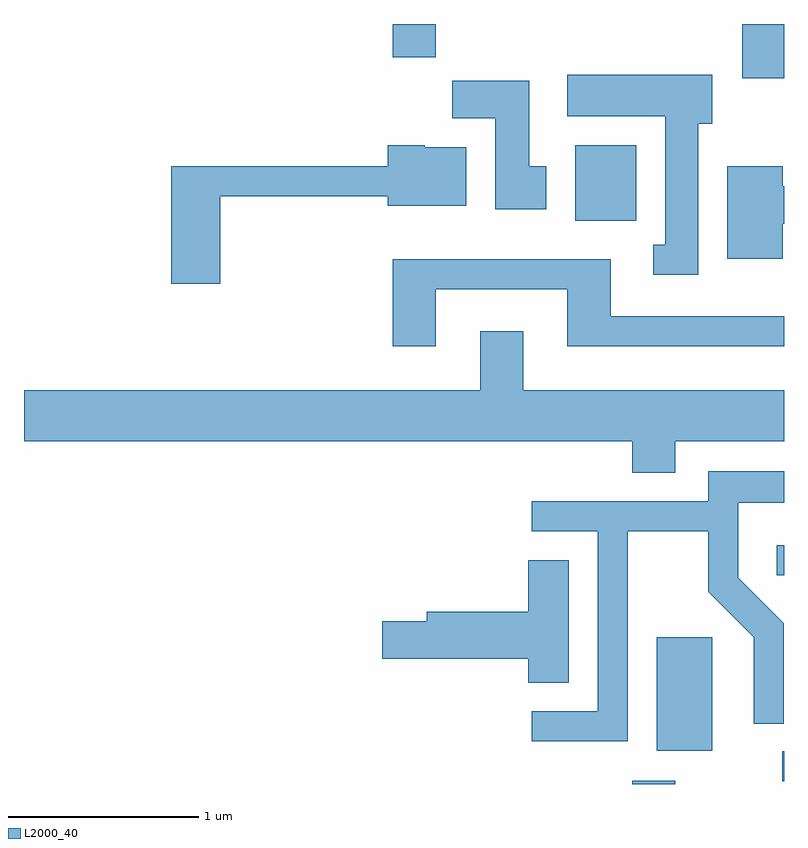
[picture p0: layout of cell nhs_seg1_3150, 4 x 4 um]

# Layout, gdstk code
import gdstk
lib = gdstk.Library(unit=1e-6, precision=1e-09)
def R(c, l, rs):  # rectangles x0, y0, x1, y1
    for r in rs: c.add(gdstk.rectangle(r[:2], r[2:], *l))
def P(c, l, *ps):  # polygons
    for p in ps: c.add(gdstk.Polygon(p, *l))
L2000_40 = (2000, 40)

nhs_seg1_3150 = lib.new_cell('nhs_seg1_3150')
R(nhs_seg1_3150, L2000_40, [(282.811,957.712,283.039,957.729), (283.603,957.726,283.611,957.884), (282.941,957.886,283.234,958.484), (283.573,958.811,283.611,958.969), (282.511,960.676,282.834,961.074), (283.391,961.426,283.611,961.712), (281.551,961.536,281.779,961.712)])
P(nhs_seg1_3150, L2000_40, [(283.159,961.186),(283.234,961.186),(283.234,961.444),(282.471,961.444),(282.471,961.226),(282.986,961.226),(282.986,960.549),(282.923,960.549),(282.923,960.391),(283.159,960.391)],
  [(282.359,960.964),(282.269,960.964),(282.269,961.414),(281.866,961.414),(281.866,961.216),(282.091,961.216),(282.091,960.736),(282.359,960.736)],
  [(280.644,960.806),(281.526,960.806),(281.526,960.756),(281.939,960.756),(281.939,961.064),(281.72,961.064),(281.72,961.074),(281.526,961.074),(281.526,960.964),(280.386,960.964),(280.386,960.346),(280.644,960.346)],
  [(283.604,960.661),(283.611,960.661),(283.611,960.859),(283.604,960.859),(283.604,960.964),(283.311,960.964),(283.311,960.476),(283.604,960.476)],
  [(281.779,960.316),(282.471,960.316),(282.471,960.016),(283.611,960.016),(283.611,960.174),(282.699,960.174),(282.699,960.474),(281.551,960.474),(281.551,960.016),(281.779,960.016)],
  [(283.039,959.516),(283.611,959.516),(283.611,959.784),(282.239,959.784),(282.239,960.094),(282.011,960.094),(282.011,959.784),(279.611,959.784),(279.611,959.516),(282.811,959.516),(282.811,959.351),(283.039,959.351)],
  [(282.789,959.041),(283.211,959.041),(283.211,958.724),(283.451,958.484),(283.451,958.028),(283.609,958.028),(283.609,958.557),(283.369,958.797),(283.369,959.191),(283.611,959.191),(283.611,959.359),(283.211,959.359),(283.211,959.199),(282.283,959.199),(282.283,959.041),(282.631,959.041),(282.631,958.094),(282.283,958.094),(282.283,957.936),(282.789,957.936)],
  [(282.479,958.889),(282.266,958.889),(282.266,958.619),(281.731,958.619),(281.731,958.569),(281.496,958.569),(281.496,958.371),(282.266,958.371),(282.266,958.246),(282.479,958.246)])

lib.write_gds('nhs_seg1_3150.gds')
